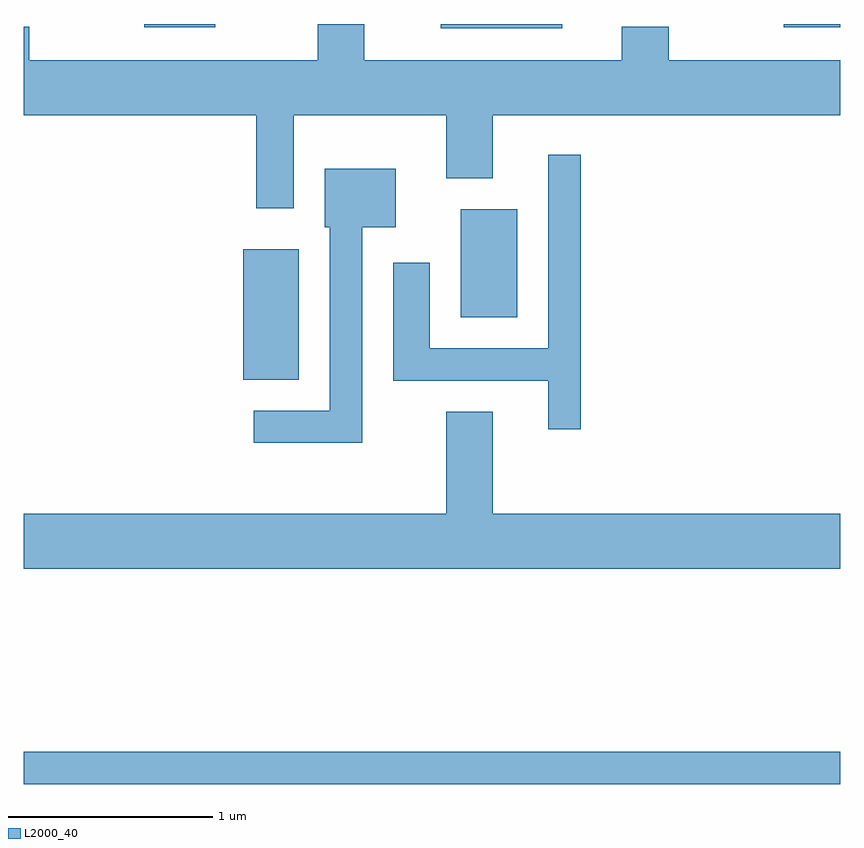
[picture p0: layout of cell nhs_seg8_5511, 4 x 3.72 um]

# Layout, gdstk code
import gdstk
lib = gdstk.Library(unit=1e-6, precision=1e-09)
def R(c, l, rs):  # rectangles x0, y0, x1, y1
    for r in rs: c.add(gdstk.rectangle(r[:2], r[2:], *l))
def P(c, l, *ps):  # polygons
    for p in ps: c.add(gdstk.Polygon(p, *l))
L2000_40 = (2000, 40)

nhs_seg8_5511 = lib.new_cell('nhs_seg8_5511')
R(nhs_seg8_5511, L2000_40, [(349.611,1908.621,353.611,1908.779), (350.686,1910.601,350.959,1911.239), (351.751,1910.906,352.029,1911.434), (351.653,1912.321,352.249,1912.342), (350.203,1912.326,350.549,1912.342), (353.333,1912.326,353.611,1912.342)])
P(nhs_seg8_5511, L2000_40, [(350.934,1911.896),(351.681,1911.896),(351.681,1911.586),(351.909,1911.586),(351.909,1911.896),(353.611,1911.896),(353.611,1912.164),(352.769,1912.164),(352.769,1912.329),(352.541,1912.329),(352.541,1912.164),(351.279,1912.164),(351.279,1912.342),(351.051,1912.342),(351.051,1912.164),(349.639,1912.164),(349.639,1912.329),(349.611,1912.329),(349.611,1911.896),(350.751,1911.896),(350.751,1911.441),(350.934,1911.441)],
  [(352.339,1911.703),(352.181,1911.703),(352.181,1910.754),(351.599,1910.754),(351.599,1911.174),(351.421,1911.174),(351.421,1910.596),(352.181,1910.596),(352.181,1910.358),(352.339,1910.358)],
  [(351.269,1911.346),(351.434,1911.346),(351.434,1911.634),(351.086,1911.634),(351.086,1911.346),(351.111,1911.346),(351.111,1910.449),(350.738,1910.449),(350.738,1910.291),(351.269,1910.291)],
  [(353.611,1909.944),(351.909,1909.944),(351.909,1910.444),(351.681,1910.444),(351.681,1909.944),(349.611,1909.944),(349.611,1909.676),(353.611,1909.676)])

lib.write_gds('nhs_seg8_5511.gds')
